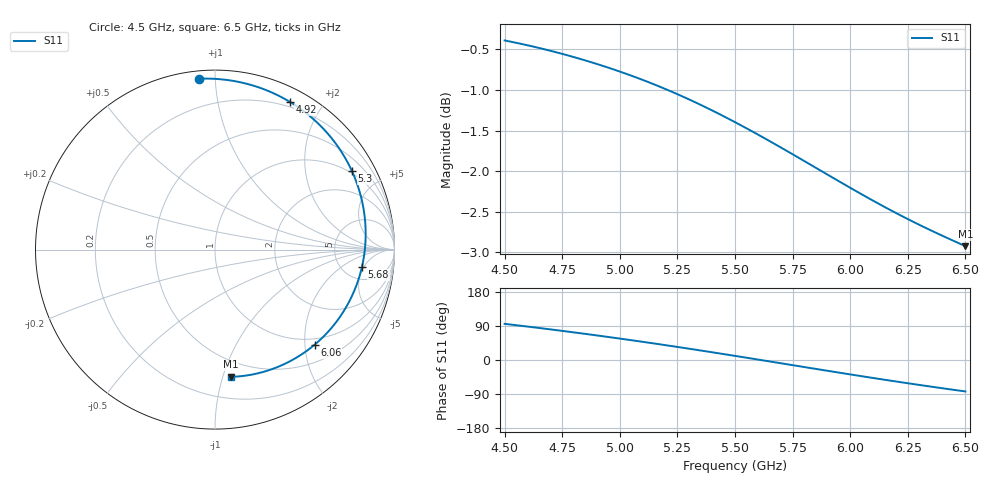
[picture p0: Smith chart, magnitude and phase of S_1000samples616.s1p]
! TOUCHSTONE file generated by CST MICROWAVE STUDIO
! Date and time: Fri Oct 28 19:03:22 2022
! Project name: L.cst
! Parameters = {Di=1.27; Epsilon_r=1.56; InnerDiameter=1.27; Length=2; Lf=10; Lg=60; OuterConductorThickness=0.2921; OuterDiameter=3.6; Wf=3; Wp=41.2; de=1.5; df=6.8; g=0.8; gx=1.57622; gy=4.46367; h=2.34; hf=1.524; px=9.07795; py=10.0625; w=9.7; wx=7.50174; wy=5.59881}
! Header version: 2018
! Port assignment regex: !\s*Touchstone port\s*([0-9]+)\s*=\s*(CST MWS port|CST DS port)\s*([0-9]+|Zmin|Zmax)\s*\(\"(.*)\"\)(\s*mode\s*([0-9]+))?.*
! Touchstone port assignment:
! Touchstone port 1 = CST MWS port 1 ("")
# GHz S DB R 50
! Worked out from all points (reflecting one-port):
!   101 points, 4.5 GHz to 6.5 GHz, reference 50 ohm
!   lowest |S11| = -2.9 dB at 6.5 GHz (marker M1), VSWR 6.00, Z = 18.3 - j53.1 ohm
!   phase of S11 starts at 95 deg and turns -178 deg over the sweep
!   S11 on the Smith chart (normalised r, x): 4.5 GHz: 0.04, +0.91; 4.92 GHz: 0.15, +1.62; 5.3 GHz: 0.91, +3.53; 5.68 GHz: 7.60, -4.57; 6.06 GHz: 0.86, -2.21; 6.5 GHz: 0.37, -1.06
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4.5  -0.39 95.4
4.58  -0.44 89.7
4.64  -0.48 85.2
4.7  -0.52 80.7
4.76  -0.56 76.1
4.84  -0.63 69.7
4.92  -0.70 63.2
5  -0.77 56.5
5.06  -0.83 51.4
5.12  -0.90 46.2
5.2  -0.99 39.0
5.26  -1.06 33.5
5.3  -1.12 29.8
5.4  -1.25 20.4
5.5  -1.40 10.9
5.58  -1.52 3.1
5.68  -1.68 -6.7
5.76  -1.81 -14.6
5.82  -1.91 -20.5
5.88  -2.01 -26.4
5.94  -2.11 -32.2
6  -2.20 -38.0
6.06  -2.30 -43.7
6.16  -2.46 -53.1
6.26  -2.60 -62.2
6.32  -2.69 -67.6
6.38  -2.77 -72.8
6.5  -2.92 -83.0
